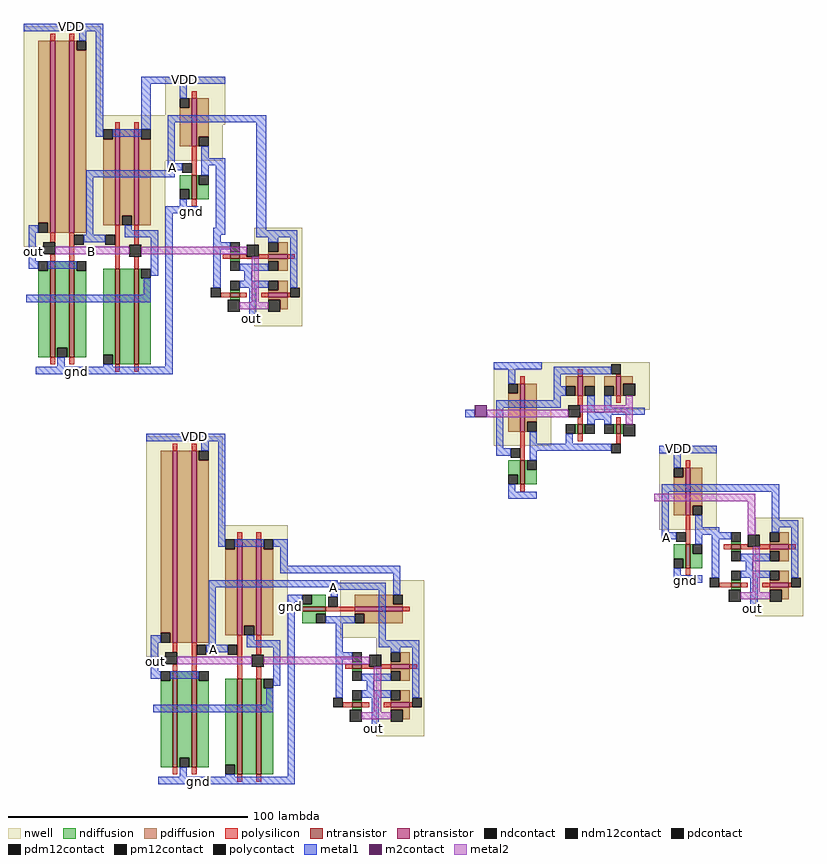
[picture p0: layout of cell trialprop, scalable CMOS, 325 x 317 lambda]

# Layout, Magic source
magic
tech scmos
<< nwell >>
rect -261 314 -229 351
rect -202 314 -177 330
rect -261 310 -177 314
rect -261 295 -178 310
rect -261 259 -202 295
rect -217 256 -202 259
rect -165 226 -145 267
rect -210 143 -178 180
rect 16 173 28 176
rect -210 88 -151 143
rect 4 141 28 173
rect -129 96 -94 120
rect 44 105 64 146
rect -166 85 -151 88
rect -114 55 -94 96
<< ntransistor >>
rect -191 279 -189 289
rect -250 213 -248 253
rect -242 213 -240 253
rect -175 254 -171 256
rect -223 210 -221 250
rect -215 210 -213 250
rect -175 238 -171 240
rect 15 125 17 135
rect 34 133 38 135
rect 34 117 38 119
rect -145 107 -135 109
rect -199 42 -197 82
rect -191 42 -189 82
rect -124 83 -120 85
rect -172 39 -170 79
rect -164 39 -162 79
rect -124 67 -120 69
<< ptransistor >>
rect -250 265 -248 345
rect -242 265 -240 345
rect -223 268 -221 308
rect -215 268 -213 308
rect -191 301 -189 321
rect -159 254 -151 256
rect -159 238 -151 240
rect -199 94 -197 174
rect -191 94 -189 174
rect 15 147 17 167
rect -172 97 -170 137
rect -164 97 -162 137
rect 50 133 58 135
rect 50 117 58 119
rect -123 107 -103 109
rect -108 83 -100 85
rect -108 67 -100 69
<< ndiffusion >>
rect -196 283 -191 289
rect -192 279 -191 283
rect -189 285 -188 289
rect -189 279 -184 285
rect -251 249 -250 253
rect -255 213 -250 249
rect -248 217 -242 253
rect -248 213 -247 217
rect -243 213 -242 217
rect -240 249 -239 253
rect -175 256 -171 257
rect -175 253 -171 254
rect -240 213 -235 249
rect -228 214 -223 250
rect -224 210 -223 214
rect -221 210 -215 250
rect -213 246 -212 250
rect -213 210 -208 246
rect -175 240 -171 241
rect -175 237 -171 238
rect 34 135 38 136
rect 10 129 15 135
rect 14 125 15 129
rect 17 131 18 135
rect 17 125 22 131
rect 34 132 38 133
rect 34 119 38 120
rect 34 116 38 117
rect -141 110 -135 114
rect -145 109 -135 110
rect -145 106 -135 107
rect -145 102 -139 106
rect -200 78 -199 82
rect -204 42 -199 78
rect -197 46 -191 82
rect -197 42 -196 46
rect -192 42 -191 46
rect -189 78 -188 82
rect -124 85 -120 86
rect -124 82 -120 83
rect -189 42 -184 78
rect -177 43 -172 79
rect -173 39 -172 43
rect -170 39 -164 79
rect -162 75 -161 79
rect -162 39 -157 75
rect -124 69 -120 70
rect -124 66 -120 67
<< pdiffusion >>
rect -255 269 -250 345
rect -251 265 -250 269
rect -248 265 -242 345
rect -240 341 -239 345
rect -240 265 -235 341
rect -192 317 -191 321
rect -224 304 -223 308
rect -228 268 -223 304
rect -221 272 -215 308
rect -221 268 -220 272
rect -216 268 -215 272
rect -213 304 -212 308
rect -213 268 -208 304
rect -196 301 -191 317
rect -189 305 -184 321
rect -189 301 -188 305
rect -155 257 -151 261
rect -159 256 -151 257
rect -159 253 -151 254
rect -155 249 -151 253
rect -155 241 -151 245
rect -159 240 -151 241
rect -159 237 -151 238
rect -154 233 -151 237
rect -204 98 -199 174
rect -200 94 -199 98
rect -197 94 -191 174
rect -189 170 -188 174
rect -189 94 -184 170
rect 14 163 15 167
rect 10 147 15 163
rect 17 151 22 167
rect 17 147 18 151
rect -173 133 -172 137
rect -177 97 -172 133
rect -170 101 -164 137
rect -170 97 -169 101
rect -165 97 -164 101
rect -162 133 -161 137
rect -162 97 -157 133
rect 54 136 58 140
rect 50 135 58 136
rect 50 132 58 133
rect 54 128 58 132
rect 54 120 58 124
rect 50 119 58 120
rect -123 110 -107 114
rect 50 116 58 117
rect 55 112 58 116
rect -123 109 -103 110
rect -123 106 -103 107
rect -119 102 -103 106
rect -104 86 -100 90
rect -108 85 -100 86
rect -108 82 -100 83
rect -104 78 -100 82
rect -104 70 -100 74
rect -108 69 -100 70
rect -108 66 -100 67
rect -103 62 -100 66
<< ndcontact >>
rect -196 279 -192 283
rect -188 285 -184 289
rect -255 249 -251 253
rect -247 213 -243 217
rect -239 249 -235 253
rect -175 257 -171 261
rect -228 210 -224 214
rect -212 246 -208 250
rect -175 249 -171 253
rect -175 241 -171 245
rect 34 136 38 140
rect 10 125 14 129
rect 18 131 22 135
rect 34 128 38 132
rect 34 120 38 124
rect -145 110 -141 114
rect -139 102 -135 106
rect -204 78 -200 82
rect -196 42 -192 46
rect -188 78 -184 82
rect -124 86 -120 90
rect -177 39 -173 43
rect -161 75 -157 79
rect -124 78 -120 82
rect -124 70 -120 74
<< pdcontact >>
rect -255 265 -251 269
rect -239 341 -235 345
rect -196 317 -192 321
rect -228 304 -224 308
rect -220 268 -216 272
rect -212 304 -208 308
rect -188 301 -184 305
rect -159 257 -155 261
rect -159 249 -155 253
rect -159 241 -155 245
rect -204 94 -200 98
rect -188 170 -184 174
rect 10 163 14 167
rect 18 147 22 151
rect -177 133 -173 137
rect -169 97 -165 101
rect -161 133 -157 137
rect 50 136 54 140
rect 50 128 54 132
rect 50 120 54 124
rect -107 110 -103 114
rect -123 102 -119 106
rect -108 86 -104 90
rect -108 78 -104 82
rect -108 70 -104 74
<< polysilicon >>
rect -250 345 -248 348
rect -242 345 -240 348
rect -191 321 -189 324
rect -223 308 -221 311
rect -215 308 -213 311
rect -191 289 -189 301
rect -191 276 -189 279
rect -250 261 -248 265
rect -250 253 -248 256
rect -242 253 -240 265
rect -223 250 -221 268
rect -215 260 -213 268
rect -215 250 -213 255
rect -178 254 -175 256
rect -171 255 -168 256
rect -163 255 -159 256
rect -171 254 -159 255
rect -151 254 -148 256
rect -250 210 -248 213
rect -242 210 -240 213
rect -179 238 -175 240
rect -171 238 -168 240
rect -162 238 -159 240
rect -151 238 -150 240
rect -223 207 -221 210
rect -215 207 -213 210
rect -199 174 -197 177
rect -191 174 -189 177
rect 15 167 17 170
rect -172 137 -170 140
rect -164 137 -162 140
rect 15 135 17 147
rect 31 133 34 135
rect 38 134 41 135
rect 46 134 50 135
rect 38 133 50 134
rect 58 133 61 135
rect 15 122 17 125
rect 29 117 34 119
rect 38 117 41 119
rect 47 117 50 119
rect 58 117 59 119
rect -148 107 -145 109
rect -135 107 -123 109
rect -103 107 -100 109
rect -199 90 -197 94
rect -199 82 -197 85
rect -191 82 -189 94
rect -172 79 -170 97
rect -164 89 -162 97
rect -164 79 -162 84
rect -127 83 -124 85
rect -120 84 -117 85
rect -112 84 -108 85
rect -120 83 -108 84
rect -100 83 -97 85
rect -199 39 -197 42
rect -191 39 -189 42
rect -128 67 -124 69
rect -120 67 -117 69
rect -111 67 -108 69
rect -100 67 -99 69
rect -172 36 -170 39
rect -164 36 -162 39
<< polycontact >>
rect -195 290 -191 294
rect -240 260 -236 264
rect -227 260 -223 264
rect -183 238 -179 242
rect -150 238 -146 242
rect 11 136 15 140
rect 25 117 29 121
rect 59 117 63 121
rect -134 109 -130 113
rect -189 89 -185 93
rect -176 89 -172 93
rect -132 67 -128 71
rect -99 67 -95 71
<< metal1 >>
rect -261 349 -228 352
rect -238 345 -235 349
rect -231 305 -228 349
rect -212 327 -177 330
rect -212 308 -208 327
rect -196 321 -193 327
rect -224 305 -212 308
rect -201 311 -160 314
rect -201 294 -198 311
rect -187 296 -184 301
rect -201 291 -195 294
rect -235 288 -198 291
rect -187 293 -177 296
rect -187 289 -184 293
rect -259 265 -255 268
rect -259 253 -256 265
rect -235 264 -232 288
rect -196 276 -193 279
rect -202 273 -188 276
rect -219 266 -216 268
rect -236 261 -227 264
rect -219 263 -205 266
rect -259 250 -255 253
rect -251 250 -239 253
rect -208 247 -205 263
rect -211 239 -208 246
rect -260 236 -208 239
rect -247 209 -244 213
rect -228 209 -224 210
rect -202 209 -199 273
rect -181 267 -177 293
rect -182 264 -177 267
rect -164 266 -160 311
rect -182 261 -179 264
rect -164 263 -147 266
rect -159 261 -155 263
rect -182 258 -175 261
rect -182 242 -179 258
rect -171 249 -159 252
rect -169 245 -166 249
rect -171 242 -159 245
rect -167 228 -164 242
rect -150 242 -147 263
rect -256 206 -199 209
rect -210 178 -177 181
rect -187 174 -184 178
rect -180 134 -177 178
rect 4 173 28 176
rect 10 167 13 173
rect 5 157 54 160
rect 5 140 8 157
rect 19 142 22 147
rect 51 145 54 157
rect 51 142 62 145
rect 19 140 29 142
rect 51 140 54 142
rect 5 137 11 140
rect -173 134 -161 137
rect -157 134 -151 137
rect 19 139 34 140
rect 19 135 22 139
rect -154 126 -151 134
rect 26 137 34 139
rect -154 123 -104 126
rect -184 119 -130 120
rect -184 117 -110 119
rect -208 94 -204 97
rect -208 82 -205 94
rect -184 93 -181 117
rect -133 116 -110 117
rect -151 111 -145 114
rect -168 95 -165 97
rect -185 90 -176 93
rect -168 92 -154 95
rect -208 79 -204 82
rect -200 79 -188 82
rect -157 76 -154 92
rect -160 68 -157 75
rect -207 65 -157 68
rect -196 38 -193 42
rect -177 38 -173 39
rect -151 38 -148 111
rect -133 113 -130 116
rect -135 102 -123 105
rect -131 90 -128 102
rect -113 95 -110 116
rect -107 114 -104 123
rect 10 122 13 125
rect 10 119 22 122
rect 26 121 29 137
rect 38 128 50 131
rect 40 124 43 128
rect 38 121 50 124
rect 42 107 45 121
rect 59 121 62 142
rect -113 92 -96 95
rect -108 90 -104 92
rect -131 87 -124 90
rect -131 71 -128 87
rect -120 78 -108 81
rect -118 74 -115 78
rect -120 71 -108 74
rect -116 57 -113 71
rect -99 71 -96 92
rect -205 35 -148 38
<< pm12contact >>
rect -253 256 -248 261
rect -217 255 -212 260
rect -168 255 -163 260
rect -202 85 -197 90
rect -166 84 -161 89
rect 41 134 46 139
rect -117 84 -112 89
<< pdm12contact >>
rect -159 232 -154 237
rect 50 111 55 116
rect -108 61 -103 66
<< ndm12contact >>
rect -176 232 -171 237
rect 33 111 38 116
rect -125 61 -120 66
<< metal2 >>
rect -248 256 -217 259
rect -212 256 -168 259
rect -166 236 -163 255
rect -171 233 -159 236
rect 2 153 44 156
rect 41 139 44 153
rect 43 115 46 134
rect 38 112 50 115
rect -197 85 -166 88
rect -161 85 -117 88
rect -115 65 -112 84
rect -120 62 -108 65
use XOR  XOR_0
transform 1 0 274 0 1 237
box -351 -83 -274 -26
<< labels >>
rlabel metal1 -188 36 -188 36 1 gnd
rlabel metal1 -190 180 -190 180 5 VDD
rlabel metal1 -206 86 -206 86 3 out
rlabel metal1 -182 91 -182 91 7 A
rlabel metal2 -182 86 -182 86 7 B
rlabel metal1 43 108 43 108 3 out
rlabel metal1 12 175 12 175 5 VDD
rlabel metal1 15 120 15 120 1 gnd
rlabel metal1 7 138 7 138 1 A
rlabel metal1 -115 58 -115 58 3 out
rlabel metal1 -132 117 -132 117 3 A
rlabel metal1 -150 109 -150 109 3 gnd
rlabel metal1 -166 229 -166 229 3 out
rlabel metal2 -233 257 -233 257 7 B
rlabel metal1 -233 262 -233 262 7 A
rlabel metal1 -257 257 -257 257 3 out
rlabel metal1 -241 351 -241 351 5 VDD
rlabel metal1 -239 207 -239 207 1 gnd
rlabel metal1 -199 292 -199 292 1 A
rlabel metal1 -191 274 -191 274 1 gnd
rlabel metal1 -194 329 -194 329 5 VDD
<< end >>

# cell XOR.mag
magic
tech scmos
<< nwell >>
rect -319 -29 -274 -26
rect -339 -46 -274 -29
rect -339 -61 -315 -46
<< ntransistor >>
rect -304 -56 -302 -52
rect -288 -56 -286 -52
rect -328 -77 -326 -67
<< ptransistor >>
rect -328 -55 -326 -35
rect -304 -40 -302 -32
rect -288 -40 -286 -32
<< ndiffusion >>
rect -305 -56 -304 -52
rect -302 -56 -301 -52
rect -289 -56 -288 -52
rect -286 -56 -285 -52
rect -333 -73 -328 -67
rect -329 -77 -328 -73
rect -326 -71 -325 -67
rect -326 -77 -321 -71
<< pdiffusion >>
rect -329 -39 -328 -35
rect -333 -55 -328 -39
rect -326 -51 -321 -35
rect -309 -36 -304 -32
rect -305 -40 -304 -36
rect -302 -36 -297 -32
rect -302 -40 -301 -36
rect -293 -36 -288 -32
rect -289 -40 -288 -36
rect -286 -35 -281 -32
rect -286 -40 -285 -35
rect -326 -55 -325 -51
<< ndcontact >>
rect -309 -56 -305 -52
rect -301 -56 -297 -52
rect -293 -56 -289 -52
rect -333 -77 -329 -73
rect -325 -71 -321 -67
<< pdcontact >>
rect -333 -39 -329 -35
rect -309 -40 -305 -36
rect -301 -40 -297 -36
rect -293 -40 -289 -36
rect -325 -55 -321 -51
<< polysilicon >>
rect -304 -32 -302 -29
rect -288 -32 -286 -31
rect -328 -35 -326 -32
rect -304 -44 -302 -40
rect -288 -43 -286 -40
rect -303 -49 -302 -44
rect -304 -52 -302 -49
rect -288 -52 -286 -49
rect -328 -67 -326 -55
rect -304 -59 -302 -56
rect -288 -60 -286 -56
rect -328 -80 -326 -77
<< polycontact >>
rect -290 -31 -286 -27
rect -332 -66 -328 -62
rect -290 -64 -286 -60
<< metal1 >>
rect -339 -29 -319 -26
rect -333 -35 -330 -29
rect -314 -31 -290 -28
rect -314 -36 -311 -31
rect -314 -40 -309 -36
rect -314 -42 -311 -40
rect -351 -49 -347 -46
rect -338 -45 -311 -42
rect -338 -62 -335 -45
rect -300 -47 -297 -40
rect -293 -45 -290 -40
rect -293 -47 -276 -45
rect -300 -48 -276 -47
rect -300 -50 -290 -48
rect -300 -52 -297 -50
rect -324 -60 -321 -55
rect -293 -52 -290 -50
rect -309 -60 -306 -56
rect -338 -65 -332 -62
rect -324 -63 -290 -60
rect -324 -67 -321 -63
rect -333 -80 -330 -77
rect -333 -83 -321 -80
<< m2contact >>
rect -347 -49 -342 -44
<< pm12contact >>
rect -308 -49 -303 -44
<< pdm12contact >>
rect -285 -40 -280 -35
<< ndm12contact >>
rect -285 -57 -280 -52
<< metal2 >>
rect -284 -44 -281 -40
rect -342 -49 -308 -46
rect -303 -47 -281 -44
rect -284 -52 -281 -47
<< labels >>
rlabel metal1 -331 -27 -331 -27 5 VDD
rlabel metal1 -328 -82 -328 -82 1 gnd
rlabel metal1 -350 -48 -350 -48 1 B
rlabel metal1 -336 -64 -336 -64 1 A
rlabel metal1 -277 -47 -277 -47 1 out
<< end >>
